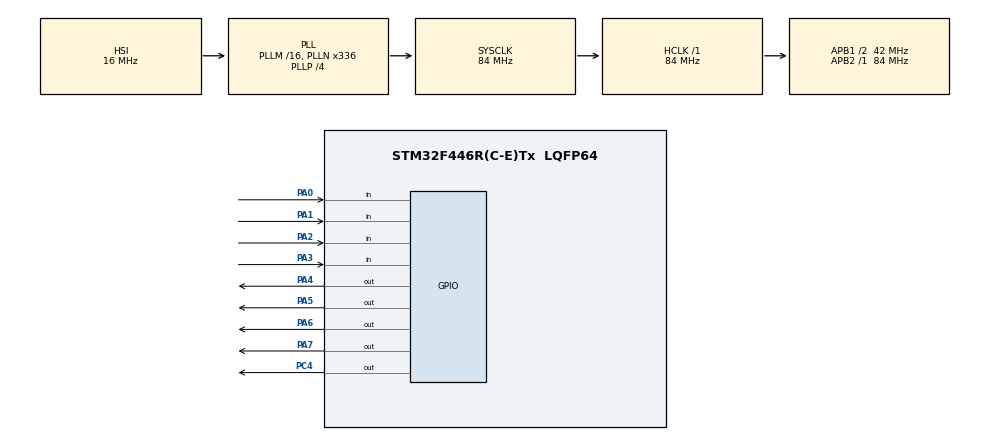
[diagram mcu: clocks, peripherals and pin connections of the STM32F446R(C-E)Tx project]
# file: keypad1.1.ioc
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Mcu.Family=STM32F4
Mcu.Name=STM32F446R(C-E)Tx
Mcu.Package=LQFP64
NVIC.PriorityGroup=NVIC_PRIORITYGROUP_0
PA0-WKUP.Signal=GPIO_Input
PA1.Signal=GPIO_Input
PA2.Signal=GPIO_Input
PA3.Signal=GPIO_Input
PA4.Signal=GPIO_Output
PA5.Signal=GPIO_Output
PA6.Signal=GPIO_Output
PA7.Signal=GPIO_Output
PC4.Signal=GPIO_Output
ProjectManager.HeapSize=0x200
ProjectManager.StackSize=0x400
ProjectManager.TargetToolchain=STM32CubeIDE
RCC.48MHZClocksFreq_Value=84000000
RCC.AHBFreq_Value=84000000
RCC.APB1CLKDivider=RCC_HCLK_DIV2
RCC.APB1Freq_Value=42000000
RCC.APB1TimFreq_Value=84000000
RCC.APB2Freq_Value=84000000
RCC.APB2TimFreq_Value=84000000
RCC.CortexFreq_Value=84000000
RCC.FLatency-AdvancedSettings=FLASH_LATENCY_2
RCC.HCLKFreq_Value=84000000
RCC.HSE_VALUE=8000000
RCC.HSI_VALUE=16000000
RCC.PLLN=336
RCC.PLLP=RCC_PLLP_DIV4
RCC.SYSCLKFreq_VALUE=84000000
RCC.SYSCLKSource=RCC_SYSCLKSOURCE_PLLCLK
RCC.USBFreq_Value=168000000
RCC.VCOOutputFreq_Value=336000000
board=NUCLEO-F446RE

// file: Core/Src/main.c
/* USER CODE BEGIN Header */
/**
 ******************************************************************************
 * @file           : main.c
 * @brief          : Main program body
 ******************************************************************************
 * @attention
 *
 * Copyright (c) 2025 STMicroelectronics.
 * All rights reserved.
 *
 * This software is licensed under terms that can be found in the LICENSE file
 * in the root directory of this software component.
 * If no LICENSE file comes with this software, it is provided AS-IS.
 *
 ******************************************************************************
 */
/* USER CODE END Header */
#include "main.h"

/* USER CODE BEGIN Includes */
#include "KEYPAD.h"
#include "LEDS.h"

/* USER CODE END Includes */

/* USER CODE BEGIN PM */
#define LED_BLUE    0
#define LED_YELLOW  1

#define KEY_1       0
#define KEY_2       1

uint8_t gu8_KeyStatesArr[KEYS] = {0};
uint8_t SysTicks = 0;
/* USER CODE END PM */

void SystemClock_Config(void);
static void MX_GPIO_Init(void);
void SysTick_CallBack(void);

/* USER CODE BEGIN 0 */

void SysTick_CallBack(void)
{
    SysTicks++;
    if(SysTicks == 5) // Each 5msec
    {
	KEYPAD_Scan(0);
	SysTicks = 0;
    }
}
/* USER CODE END 0 */

int main(void)
{

	/* MCU Configuration--------------------------------------------------------*/

	/* Reset of all peripherals, Initializes the Flash interface and the Systick. */
	HAL_Init();

	/* Configure the system clock */
	SystemClock_Config();

	/* Initialize all configured peripherals */
	MX_GPIO_Init();
	/* USER CODE BEGIN 2 */
	LEDs_Init();
	KEYPAD_Init(0, gu8_KeyStatesArr);

	/* USER CODE END 2 */

	/* Infinite loop */
	while (1)
	{

		/* USER CODE BEGIN 3 */
		if(gu8_KeyStatesArr[KEY_1] == KEY_PRESSED)
		{
			LED_ON(LED_YELLOW);
		}
		else
		{
			LED_OFF(LED_YELLOW);
		}
		if(gu8_KeyStatesArr[KEY_2] == KEY_PRESSED)
		{
			LED_ON(LED_BLUE);
		}
		else
		{
			LED_OFF(LED_BLUE);
		}
	}
	/* USER CODE END 3 */
}

void SystemClock_Config(void)
{
	RCC_OscInitTypeDef RCC_OscInitStruct = {0};
	RCC_ClkInitTypeDef RCC_ClkInitStruct = {0};

	/** Configure the main internal regulator output voltage
	 */
	__HAL_RCC_PWR_CLK_ENABLE();
	__HAL_PWR_VOLTAGESCALING_CONFIG(PWR_REGULATOR_VOLTAGE_SCALE3);

	/** Initializes the RCC Oscillators according to the specified parameters
	 * in the RCC_OscInitTypeDef structure.
	 */
	RCC_OscInitStruct.OscillatorType = RCC_OSCILLATORTYPE_HSI;
	RCC_OscInitStruct.HSIState = RCC_HSI_ON;
	RCC_OscInitStruct.HSICalibrationValue = RCC_HSICALIBRATION_DEFAULT;
	RCC_OscInitStruct.PLL.PLLState = RCC_PLL_ON;
	RCC_OscInitStruct.PLL.PLLSource = RCC_PLLSOURCE_HSI;
	RCC_OscInitStruct.PLL.PLLM = 16;
	RCC_OscInitStruct.PLL.PLLN = 336;
	RCC_OscInitStruct.PLL.PLLP = RCC_PLLP_DIV4;
	RCC_OscInitStruct.PLL.PLLQ = 2;
	RCC_OscInitStruct.PLL.PLLR = 2;
	if (HAL_RCC_OscConfig(&RCC_OscInitStruct) != HAL_OK)
	{
		Error_Handler();
	}

	/** Initializes the CPU, AHB and APB buses clocks
	 */
	RCC_ClkInitStruct.ClockType = RCC_CLOCKTYPE_HCLK|RCC_CLOCKTYPE_SYSCLK
			|RCC_CLOCKTYPE_PCLK1|RCC_CLOCKTYPE_PCLK2;
	RCC_ClkInitStruct.SYSCLKSource = RCC_SYSCLKSOURCE_PLLCLK;
	RCC_ClkInitStruct.AHBCLKDivider = RCC_SYSCLK_DIV1;
	RCC_ClkInitStruct.APB1CLKDivider = RCC_HCLK_DIV2;
	RCC_ClkInitStruct.APB2CLKDivider = RCC_HCLK_DIV1;

	if (HAL_RCC_ClockConfig(&RCC_ClkInitStruct, FLASH_LATENCY_2) != HAL_OK)
	{
		Error_Handler();
	}
}

static void MX_GPIO_Init(void)
{
	GPIO_InitTypeDef GPIO_InitStruct = {0};

	/* GPIO Ports Clock Enable */
	__HAL_RCC_GPIOA_CLK_ENABLE();
	__HAL_RCC_GPIOC_CLK_ENABLE();

	/*Configure GPIO pin Output Level */
	HAL_GPIO_WritePin(GPIOA, GPIO_PIN_4|GPIO_PIN_5|GPIO_PIN_6|GPIO_PIN_7, GPIO_PIN_RESET);

	/*Configure GPIO pin Output Level */
	HAL_GPIO_WritePin(GPIOC, GPIO_PIN_4, GPIO_PIN_RESET);

	/*Configure GPIO pins : PA0 PA1 PA2 PA3 */
	GPIO_InitStruct.Pin = GPIO_PIN_0|GPIO_PIN_1|GPIO_PIN_2|GPIO_PIN_3;
	GPIO_InitStruct.Mode = GPIO_MODE_INPUT;
	GPIO_InitStruct.Pull = GPIO_NOPULL;
	HAL_GPIO_Init(GPIOA, &GPIO_InitStruct);

	/*Configure GPIO pins : PA4 PA5 PA6 PA7 */
	GPIO_InitStruct.Pin = GPIO_PIN_4|GPIO_PIN_5|GPIO_PIN_6|GPIO_PIN_7;
	GPIO_InitStruct.Mode = GPIO_MODE_OUTPUT_PP;
	GPIO_InitStruct.Pull = GPIO_NOPULL;
	GPIO_InitStruct.Speed = GPIO_SPEED_FREQ_LOW;
	HAL_GPIO_Init(GPIOA, &GPIO_InitStruct);

	/*Configure GPIO pin : PC4 */
	GPIO_InitStruct.Pin = GPIO_PIN_4;
	GPIO_InitStruct.Mode = GPIO_MODE_OUTPUT_PP;
	GPIO_InitStruct.Pull = GPIO_NOPULL;
	GPIO_InitStruct.Speed = GPIO_SPEED_FREQ_LOW;
	HAL_GPIO_Init(GPIOC, &GPIO_InitStruct);

}

void Error_Handler(void)
{
	__disable_irq();
	while (1)
	{
	}
}
